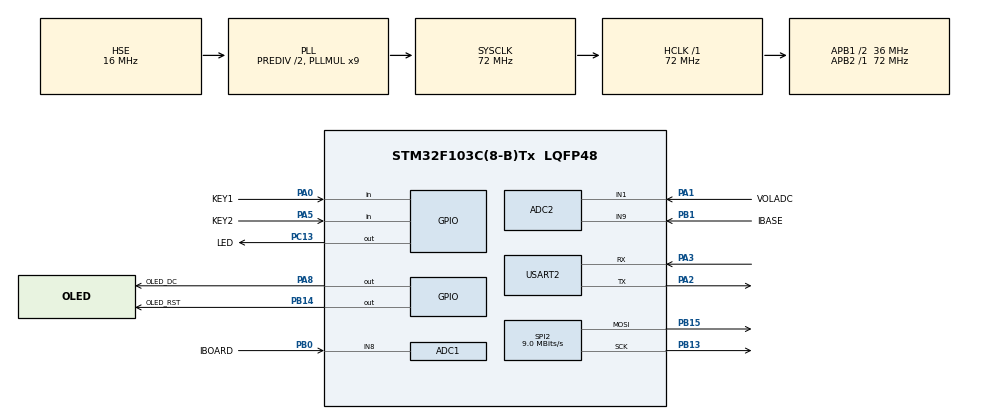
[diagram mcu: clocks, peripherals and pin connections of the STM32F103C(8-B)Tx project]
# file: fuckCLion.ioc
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ADC1.Channel-0\#ChannelRegularConversion=ADC_CHANNEL_1
ADC1.Channel-1\#ChannelInjectedConversion=ADC_CHANNEL_8
ADC1.Channel-2\#ChannelRegularConversion=ADC_CHANNEL_8
ADC1.Channel-3\#ChannelRegularConversion=ADC_CHANNEL_9
ADC1.Channel-4\#ChannelRegularConversion=ADC_CHANNEL_TEMPSENSOR
ADC1.ContinuousConvMode=DISABLE
ADC1.DiscontinuousConvMode=ENABLE
ADC1.EnableInjectedConversion=ENABLE
ADC1.InjNumberOfConversion=1
ADC1.InjectedOffset-1\#ChannelInjectedConversion=0
ADC1.InjectedRank-1\#ChannelInjectedConversion=1
ADC1.NbrOfConversion=4
ADC1.NbrOfConversionFlag=1
ADC1.NbrOfDiscConversion=1
ADC1.Rank-0\#ChannelRegularConversion=1
ADC1.Rank-2\#ChannelRegularConversion=2
ADC1.Rank-3\#ChannelRegularConversion=3
ADC1.Rank-4\#ChannelRegularConversion=4
ADC1.SamplingTime-0\#ChannelRegularConversion=ADC_SAMPLETIME_1CYCLE_5
ADC1.SamplingTime-1\#ChannelInjectedConversion=ADC_SAMPLETIME_1CYCLE_5
ADC1.SamplingTime-2\#ChannelRegularConversion=ADC_SAMPLETIME_1CYCLE_5
ADC1.SamplingTime-3\#ChannelRegularConversion=ADC_SAMPLETIME_1CYCLE_5
ADC1.SamplingTime-4\#ChannelRegularConversion=ADC_SAMPLETIME_1CYCLE_5
ADC1.master=1
ADC2.Channel-0\#ChannelRegularConversion=ADC_CHANNEL_1
ADC2.Channel-1\#ChannelInjectedConversion=ADC_CHANNEL_1
ADC2.Channel-2\#ChannelRegularConversion=ADC_CHANNEL_8
ADC2.Channel-3\#ChannelRegularConversion=ADC_CHANNEL_9
ADC2.ContinuousConvMode=DISABLE
ADC2.DiscontinuousConvMode=ENABLE
ADC2.EnableInjectedConversion=ENABLE
ADC2.InjNumberOfConversion=1
ADC2.InjectedOffset-1\#ChannelInjectedConversion=0
ADC2.InjectedRank-1\#ChannelInjectedConversion=1
ADC2.NbrOfConversion=3
ADC2.NbrOfConversionFlag=1
ADC2.Rank-0\#ChannelRegularConversion=1
ADC2.Rank-2\#ChannelRegularConversion=2
ADC2.Rank-3\#ChannelRegularConversion=3
ADC2.SamplingTime-0\#ChannelRegularConversion=ADC_SAMPLETIME_1CYCLE_5
ADC2.SamplingTime-1\#ChannelInjectedConversion=ADC_SAMPLETIME_1CYCLE_5
ADC2.SamplingTime-2\#ChannelRegularConversion=ADC_SAMPLETIME_1CYCLE_5
ADC2.SamplingTime-3\#ChannelRegularConversion=ADC_SAMPLETIME_1CYCLE_5
Dma.Request0=SPI2_TX
Dma.Request1=USART2_RX
Dma.SPI2_TX.0.Direction=DMA_MEMORY_TO_PERIPH
Dma.SPI2_TX.0.Instance=DMA1_Channel5
Dma.SPI2_TX.0.MemDataAlignment=DMA_MDATAALIGN_BYTE
Dma.SPI2_TX.0.MemInc=DMA_MINC_ENABLE
Dma.SPI2_TX.0.Mode=DMA_NORMAL
Dma.SPI2_TX.0.PeriphDataAlignment=DMA_PDATAALIGN_BYTE
Dma.SPI2_TX.0.PeriphInc=DMA_PINC_DISABLE
Dma.SPI2_TX.0.Priority=DMA_PRIORITY_LOW
Dma.USART2_RX.1.Direction=DMA_PERIPH_TO_MEMORY
Dma.USART2_RX.1.Instance=DMA1_Channel6
Dma.USART2_RX.1.MemDataAlignment=DMA_MDATAALIGN_BYTE
Dma.USART2_RX.1.MemInc=DMA_MINC_ENABLE
Dma.USART2_RX.1.Mode=DMA_NORMAL
Dma.USART2_RX.1.PeriphDataAlignment=DMA_PDATAALIGN_BYTE
Dma.USART2_RX.1.PeriphInc=DMA_PINC_DISABLE
Dma.USART2_RX.1.Priority=DMA_PRIORITY_LOW
Mcu.Family=STM32F1
Mcu.Name=STM32F103C(8-B)Tx
Mcu.Package=LQFP48
NVIC.DMA1_Channel5_IRQn=true\:0\:0\:false\:false\:true\:false\:true
NVIC.DMA1_Channel6_IRQn=true\:0\:0\:false\:false\:true\:false\:true
NVIC.PriorityGroup=NVIC_PRIORITYGROUP_4
NVIC.USART2_IRQn=true\:0\:0\:false\:false\:true\:true\:true
PA0-WKUP.GPIO_Label=KEY1
PA0-WKUP.Signal=GPIO_Input
PA1.GPIO_Label=VOLADC
PA1.Signal=ADCx_IN1
PA13.Mode=Serial_Wire
PA13.Signal=SYS_JTMS-SWDIO
PA14.Mode=Serial_Wire
PA14.Signal=SYS_JTCK-SWCLK
PA2.Mode=Asynchronous
PA2.Signal=USART2_TX
PA3.Mode=Asynchronous
PA3.Signal=USART2_RX
PA5.GPIO_Label=KEY2
PA5.Signal=GPIO_Input
PA8.GPIO_Label=OLED_DC
PA8.GPIO_Speed=GPIO_SPEED_FREQ_HIGH
PA8.Signal=GPIO_Output
PB0.GPIO_Label=IBOARD
PB0.Signal=ADCx_IN8
PB1.GPIO_Label=IBASE
PB1.Signal=ADCx_IN9
PB13.Mode=TX_Only_Simplex_Unidirect_Master
PB13.Signal=SPI2_SCK
PB14.GPIO_Label=OLED_RST
PB14.GPIO_Speed=GPIO_SPEED_FREQ_HIGH
PB14.Signal=GPIO_Output
PB15.Mode=TX_Only_Simplex_Unidirect_Master
PB15.Signal=SPI2_MOSI
PC13-TAMPER-RTC.GPIO_Label=LED
PC13-TAMPER-RTC.GPIO_Speed=GPIO_SPEED_FREQ_LOW
PC13-TAMPER-RTC.PinState=GPIO_PIN_SET
PC13-TAMPER-RTC.Signal=GPIO_Output
PD0-OSC_IN.Mode=HSE-External-Oscillator
PD0-OSC_IN.Signal=RCC_OSC_IN
PD1-OSC_OUT.Mode=HSE-External-Oscillator
PD1-OSC_OUT.Signal=RCC_OSC_OUT
ProjectManager.HeapSize=0x400
ProjectManager.StackSize=0x800
ProjectManager.TargetToolchain=SW4STM32
RCC.ADCPresc=RCC_ADCPCLK2_DIV6
RCC.AHBFreq_Value=72000000
RCC.APB1CLKDivider=RCC_HCLK_DIV2
RCC.APB1Freq_Value=36000000
RCC.APB1TimFreq_Value=72000000
RCC.APB2Freq_Value=72000000
RCC.APB2TimFreq_Value=72000000
RCC.HCLKFreq_Value=72000000
RCC.HSEDivPLL=RCC_HSE_PREDIV_DIV2
RCC.HSE_VALUE=16000000
RCC.PLLMUL=RCC_PLL_MUL9
RCC.PLLSourceVirtual=RCC_PLLSOURCE_HSE
RCC.SYSCLKFreq_VALUE=72000000
RCC.SYSCLKSource=RCC_SYSCLKSOURCE_PLLCLK
RCC.USBFreq_Value=72000000
SH.ADCx_IN1.0=ADC2_IN1,IN1
SH.ADCx_IN1.1=ADC1_IN1,IN1
SH.ADCx_IN8.0=ADC1_IN8,IN8
SH.ADCx_IN8.1=ADC2_IN8,IN8
SH.ADCx_IN9.0=ADC2_IN9,IN9
SH.ADCx_IN9.1=ADC1_IN9,IN9
SPI2.BaudRatePrescaler=SPI_BAUDRATEPRESCALER_4
SPI2.CLKPhase=SPI_PHASE_2EDGE
SPI2.CLKPolarity=SPI_POLARITY_HIGH
SPI2.CalculateBaudRate=9.0 MBits/s
SPI2.Direction=SPI_DIRECTION_2LINES
SPI2.Mode=SPI_MODE_MASTER
SPI2.VirtualType=VM_MASTER
USART2.VirtualMode=VM_ASYNC
VP_ADC1_TempSens_Input.Mode=IN-TempSens
board=custom

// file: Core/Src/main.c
/* USER CODE BEGIN Header */
/**
  ******************************************************************************
  * @file           : main.c
  * @brief          : Main program body
  ******************************************************************************
  * @attention
  *
  * Copyright (c) 2024 STMicroelectronics.
  * All rights reserved.
  *
  * This software is licensed under terms that can be found in the LICENSE file
  * in the root directory of this software component.
  * If no LICENSE file comes with this software, it is provided AS-IS.
  *
  ******************************************************************************
  */
/* USER CODE END Header */
#include "main.h"
#include "adc.h"
#include "dma.h"
#include "spi.h"
#include "usart.h"
#include "gpio.h"

/* USER CODE BEGIN Includes */
#include <sys/types.h>

#include "astra-launcher/launcher_key.h"
#include "astra-launcher/launcher_adc.h"
#include "stdio.h"
#include "astra-launcher/launcher_delay.h"
#include "astra-ui-lite/astra_ui_item.h"
#include "astra-launcher/launcher_home_page.h"
#include "astra-ui-lite/astra_ui_core.h"
#include "tgmath.h"
/* USER CODE END Includes */

void SystemClock_Config(void);

/* USER CODE BEGIN 0 */

uint8_t dma_rx_buffer[DMA_RX_BUFFER_SIZE];  // DMA接收缓冲区
volatile uint16_t dma_rx_len = 0;           // 接收到的数据长度
volatile uint8_t dma_rx_flag = 0;           // 接收完成标志

uint32_t time_start = 0;
static int16_t y_logo = 200;
static int16_t y_version = 200;
static int16_t y_name = -200;
static int16_t y_astra = -200;
static int16_t y_box = 200;
static int16_t x_board = -200;
static int16_t y_wire_1 = 200;
static int16_t y_wire_2 = 200;

void test_user_item_init_function()
{
  time_start = get_ticks();
}

void test_user_item_loop_function()
{
  // uint32_t _time = get_ticks();
  //
  // oled_set_draw_color(1);
  // oled_draw_R_box(2, y_box - 1, oled_get_UTF8_width("「astraLauncher」") + 4, oled_get_str_height() + 2, 1);
  // oled_set_draw_color(2);
  // oled_draw_UTF8(4, y_logo - 2, "「astraLauncher」");
  //
  // oled_set_draw_color(1);
  // oled_draw_str(106, y_version, "v1.0");
  // oled_draw_UTF8(2, y_name, "by 无理造物.");
  // oled_draw_UTF8(2, y_astra, "由「astra UI Lite」v1.1");
  // oled_draw_UTF8(2, y_astra + 14, "驱动.");
  // oled_draw_frame(x_board, 38, 28, 20);
  // oled_draw_frame(x_board + 2, 40, 24, 10);
  // oled_draw_box(x_board + 2, 40, 2, 10);
  // oled_draw_pixel(x_board + 25, 51);
  // oled_draw_pixel(x_board + 25, 53);
  // oled_draw_pixel(x_board + 25, 55);
  // oled_draw_box(x_board + 21, 51, 3, 2);
  // oled_draw_box(x_board + 21, 54, 3, 2);
  // oled_draw_box(x_board + 17, 53, 3, 3);
  //
  // oled_draw_box(x_board + 12, 53, 4, 3);
  // oled_draw_box(x_board + 7, 53, 4, 3);
  // oled_draw_box(x_board + 2, 53, 4, 3);
  //
  // oled_draw_box(x_board + 7, y_wire_1, 4, 3);
  // oled_draw_V_line(x_board + 9, y_wire_1 + 3, 3);
  // oled_draw_V_line(x_board + 8, y_wire_1 + 6, 2);
  //
  // oled_draw_box(x_board + 12, y_wire_2, 4, 3);
  // oled_draw_V_line(x_board + 14, y_wire_2 + 3, 3);
  // oled_draw_V_line(x_board + 15, y_wire_2 + 6, 2);
  //
  // if (_time - time_start > 300) animation(&y_logo, 15, 94);
  // if (_time - time_start > 350) animation(&y_version, 14, 88);
  // if (_time - time_start > 400) animation(&y_box, 2, 92);
  // if (_time - time_start > 450) animation(&y_astra, 36, 91);
  // if (_time - time_start > 500) animation(&y_name, 62, 94);
  // if (_time - time_start > 550) animation(&x_board, 102, 92);
  // if (_time - time_start > 620) animation(&y_wire_1, 56, 86);
  // if (_time - time_start > 1400 && _time - time_start < 1600) oled_draw_box(x_board + 5, 42, 19, 6);
  // if (_time - time_start > 1800 && _time - time_start < 1900) oled_draw_box(x_board + 5, 42, 19, 6);
  // if (_time - time_start > 2200) oled_draw_box(x_board + 5, 42, 19, 6);
  // if (_time - time_start > 2400) animation(&y_wire_2, 56, 86);
}

void test_user_item_exit_function()
{
  time_start = 0;
  y_logo = 200;
  y_version = 200;
  y_name = -200;
  y_astra = -200;
  y_box = 200;
  x_board = -200;
  y_wire_1 = 200;
  y_wire_2 = 200;
}

bool pulse_light = true;
bool key_flip = false;
bool dark_mode = false;
int16_t p_mode = 1;
bool mcu_serial_channel = false;
bool external_serial_channel = false;

bool screen_switch = false;
/* USER CODE END 0 */

int main(void)
{
  /* USER CODE BEGIN 1 */
  HAL_GPIO_WritePin(LED_GPIO_Port, LED_Pin, 0);
  /* USER CODE END 1 */

  /* MCU Configuration--------------------------------------------------------*/

  /* Reset of all peripherals, Initializes the Flash interface and the Systick. */
  HAL_Init();

  /* Configure the system clock */
  SystemClock_Config();

  /* Initialize all configured peripherals */
  MX_GPIO_Init();
  MX_SPI2_Init();
  MX_DMA_Init();
  MX_ADC1_Init();
  MX_ADC2_Init();
  MX_USART2_UART_Init();
  /* USER CODE BEGIN 2 */
  HAL_ADCEx_Calibration_Start(&hadc1);
  HAL_ADCEx_Calibration_Start(&hadc2);

  // 启动DMA接收（循环模式，持续接收数据）
  HAL_UART_Receive_DMA(&huart2, dma_rx_buffer, DMA_RX_BUFFER_SIZE);

  astra_ui_driver_init();
  astra_init_core();

  astra_list_item_t* launcher_setting_list_item = astra_new_list_item("开发板设置");

  astra_push_item_to_list(astra_get_root_list(), launcher_setting_list_item);
  astra_push_item_to_list(astra_get_root_list(), astra_new_switch_item("切换屏幕", &screen_switch));
  astra_push_item_to_list(astra_get_root_list(), astra_new_user_item("接线图...", test_user_item_init_function, test_user_item_loop_function, test_user_item_exit_function));
  astra_push_item_to_list(astra_get_root_list(), astra_new_user_item("关于开发板...", test_user_item_init_function, test_user_item_loop_function, test_user_item_exit_function));

  astra_push_item_to_list(launcher_setting_list_item, astra_new_switch_item("心跳灯开关", &pulse_light));
  astra_push_item_to_list(launcher_setting_list_item, astra_new_switch_item("反转按键", &key_flip));
  astra_push_item_to_list(launcher_setting_list_item, astra_new_slider_item("数据显示样式", &p_mode, 1, 1, 3));
  astra_push_item_to_list(launcher_setting_list_item, astra_new_switch_item("反转显示", &dark_mode));
  astra_push_item_to_list(launcher_setting_list_item, astra_new_switch_item("MCU串口通道", &mcu_serial_channel));
  astra_push_item_to_list(launcher_setting_list_item, astra_new_switch_item("外部串口通道", &external_serial_channel));

  launcher_set_terminal_area(4, 26, 124, 62);

  launcher_push_str_to_terminal(info, "astraLauncher \nRev1.0 made by \nforpaindream.");

  char msg[100] = {};
  sprintf(msg, "启动时间: %dms.", launcher_get_tick_ms());
  astra_push_pop_up(msg,1500);

  uint16_t _tick = 0;

  // 使能IDLE中断
  __HAL_UART_ENABLE_IT(&huart2, UART_IT_IDLE);
  /* USER CODE END 2 */

  /* Infinite loop */
  while (1) {

    /* USER CODE BEGIN 3 */
    oled_clear_buffer();

    if (dma_rx_flag) {
      // 处理接收到的数据（长度为dma_rx_len）
      // 例如回显数据：

      //push进去的地址，指向的是原来的地址，所以这样写的话，dma_rx_buffer有变化，所有指向它的内容都会变化
      launcher_push_str_to_terminal(f411, dma_rx_buffer);
      if (!in_astra) launcher_draw_home_page();
      //给dma_rx_buffer清零
      memset(dma_rx_buffer, '\0', DMA_RX_BUFFER_SIZE);

      // 重置标志位
      dma_rx_flag = 0;
      dma_rx_len = 0;
    }

    // if (_tick % 150 == 1) launcher_push_str_to_terminal(info, "hello,\rworld!\r1");
    // if (_tick % 201 == 1) launcher_push_str_to_terminal(uart, "hello,\rworld\r2");
    // if (_tick % 251 == 1) launcher_push_str_to_terminal(info, "hello,\nworld!\r3");

    ad_astra();
    launcher_key_call_back(1, astra_selector_go_prev_item, astra_selector_go_next_item, astra_selector_exit_current_item, astra_selector_jump_to_selected_item);

    if (!in_astra) launcher_draw_home_page();

    astra_ui_main_core();
    astra_ui_widget_core();

    oled_send_buffer();
    _tick++;
  }
  /* USER CODE END 3 */
}

void SystemClock_Config(void)
{
  RCC_OscInitTypeDef RCC_OscInitStruct = {0};
  RCC_ClkInitTypeDef RCC_ClkInitStruct = {0};
  RCC_PeriphCLKInitTypeDef PeriphClkInit = {0};

  /** Initializes the RCC Oscillators according to the specified parameters
  * in the RCC_OscInitTypeDef structure.
  */
  RCC_OscInitStruct.OscillatorType = RCC_OSCILLATORTYPE_HSE;
  RCC_OscInitStruct.HSEState = RCC_HSE_ON;
  RCC_OscInitStruct.HSEPredivValue = RCC_HSE_PREDIV_DIV2;
  RCC_OscInitStruct.HSIState = RCC_HSI_ON;
  RCC_OscInitStruct.PLL.PLLState = RCC_PLL_ON;
  RCC_OscInitStruct.PLL.PLLSource = RCC_PLLSOURCE_HSE;
  RCC_OscInitStruct.PLL.PLLMUL = RCC_PLL_MUL9;
  if (HAL_RCC_OscConfig(&RCC_OscInitStruct) != HAL_OK)
  {
    Error_Handler();
  }
  /** Initializes the CPU, AHB and APB buses clocks
  */
  RCC_ClkInitStruct.ClockType = RCC_CLOCKTYPE_HCLK|RCC_CLOCKTYPE_SYSCLK
                              |RCC_CLOCKTYPE_PCLK1|RCC_CLOCKTYPE_PCLK2;
  RCC_ClkInitStruct.SYSCLKSource = RCC_SYSCLKSOURCE_PLLCLK;
  RCC_ClkInitStruct.AHBCLKDivider = RCC_SYSCLK_DIV1;
  RCC_ClkInitStruct.APB1CLKDivider = RCC_HCLK_DIV2;
  RCC_ClkInitStruct.APB2CLKDivider = RCC_HCLK_DIV1;

  if (HAL_RCC_ClockConfig(&RCC_ClkInitStruct, FLASH_LATENCY_2) != HAL_OK)
  {
    Error_Handler();
  }
  PeriphClkInit.PeriphClockSelection = RCC_PERIPHCLK_ADC;
  PeriphClkInit.AdcClockSelection = RCC_ADCPCLK2_DIV6;
  if (HAL_RCCEx_PeriphCLKConfig(&PeriphClkInit) != HAL_OK)
  {
    Error_Handler();
  }
}

void Error_Handler(void)
{
  __disable_irq();
  while (1) {
  }
}
